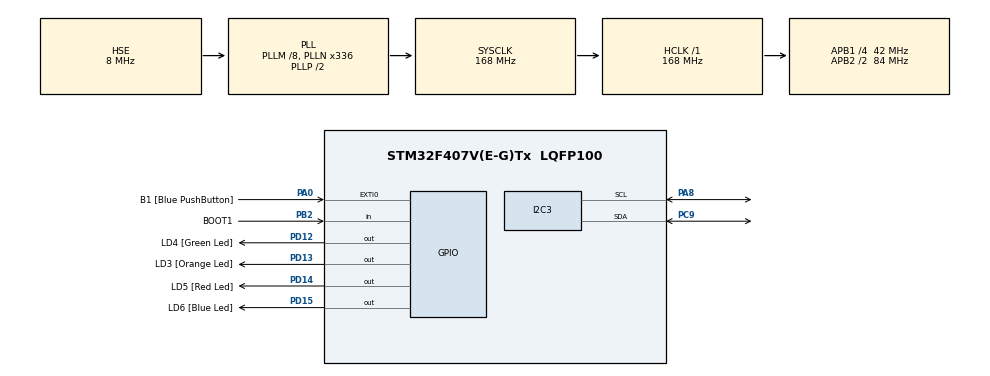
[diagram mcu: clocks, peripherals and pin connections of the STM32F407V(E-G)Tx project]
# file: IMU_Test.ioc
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Mcu.Family=STM32F4
Mcu.Name=STM32F407V(E-G)Tx
Mcu.Package=LQFP100
NVIC.PriorityGroup=NVIC_PRIORITYGROUP_0
PA0-WKUP.GPIO_Label=B1 [Blue PushButton]
PA0-WKUP.GPIO_ModeDefaultEXTI=GPIO_MODE_EVT_RISING
PA0-WKUP.GPIO_PuPd=GPIO_NOPULL
PA0-WKUP.Signal=GPXTI0
PA8.Mode=I2C
PA8.Signal=I2C3_SCL
PB2.GPIO_Label=BOOT1
PB2.GPIO_Mode=GPIO_MODE_INPUT
PB2.GPIO_PuPd=GPIO_NOPULL
PB2.Signal=GPIO_Input
PC14-OSC32_IN.GPIO_Label=PC14-OSC32_IN
PC14-OSC32_IN.Mode=LSE-External-Oscillator
PC14-OSC32_IN.Signal=RCC_OSC32_IN
PC15-OSC32_OUT.GPIO_Label=PC15-OSC32_OUT
PC15-OSC32_OUT.Mode=LSE-External-Oscillator
PC15-OSC32_OUT.Signal=RCC_OSC32_OUT
PC9.Mode=I2C
PC9.Signal=I2C3_SDA
PD12.GPIO_Label=LD4 [Green Led]
PD12.GPIO_PuPd=GPIO_NOPULL
PD12.GPIO_Speed=GPIO_SPEED_FREQ_LOW
PD12.Signal=GPIO_Output
PD13.GPIO_Label=LD3 [Orange Led]
PD13.GPIO_PuPd=GPIO_NOPULL
PD13.GPIO_Speed=GPIO_SPEED_FREQ_LOW
PD13.Signal=GPIO_Output
PD14.GPIO_Label=LD5 [Red Led]
PD14.GPIO_PuPd=GPIO_NOPULL
PD14.GPIO_Speed=GPIO_SPEED_FREQ_LOW
PD14.Signal=GPIO_Output
PD15.GPIO_Label=LD6 [Blue Led]
PD15.GPIO_PuPd=GPIO_NOPULL
PD15.GPIO_Speed=GPIO_SPEED_FREQ_LOW
PD15.Signal=GPIO_Output
PH0-OSC_IN.GPIO_Label=PH0-OSC_IN
PH0-OSC_IN.Mode=HSE-External-Oscillator
PH0-OSC_IN.Signal=RCC_OSC_IN
PH1-OSC_OUT.GPIO_Label=PH1-OSC_OUT
PH1-OSC_OUT.Mode=HSE-External-Oscillator
PH1-OSC_OUT.Signal=RCC_OSC_OUT
ProjectManager.HeapSize=0x200
ProjectManager.StackSize=0x400
ProjectManager.TargetToolchain=STM32CubeIDE
RCC.48MHZClocksFreq_Value=48000000
RCC.AHBFreq_Value=168000000
RCC.APB1CLKDivider=RCC_HCLK_DIV4
RCC.APB1Freq_Value=42000000
RCC.APB1TimFreq_Value=84000000
RCC.APB2CLKDivider=RCC_HCLK_DIV2
RCC.APB2Freq_Value=84000000
RCC.APB2TimFreq_Value=168000000
RCC.CortexFreq_Value=168000000
RCC.HCLKFreq_Value=168000000
RCC.HSE_VALUE=8000000
RCC.HSI_VALUE=16000000
RCC.PLLM=8
RCC.PLLN=336
RCC.PLLQ=7
RCC.PLLSourceVirtual=RCC_PLLSOURCE_HSE
RCC.SYSCLKFreq_VALUE=168000000
RCC.SYSCLKSource=RCC_SYSCLKSOURCE_PLLCLK
RCC.VCOOutputFreq_Value=336000000
board=STM32F407G-DISC1

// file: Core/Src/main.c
/* USER CODE BEGIN Header */
/**
  ******************************************************************************
  * @file           : main.c
  * @brief          : Main program body
  ******************************************************************************
  * @attention
  *
  * Copyright (c) 2023 STMicroelectronics.
  * All rights reserved.
  *
  * This software is licensed under terms that can be found in the LICENSE file
  * in the root directory of this software component.
  * If no LICENSE file comes with this software, it is provided AS-IS.
  *
  ******************************************************************************
  */
/* USER CODE END Header */
#include "main.h"

/* USER CODE BEGIN Includes */
#include "TJ_MPU6050.h"
/* USER CODE END Includes */

I2C_HandleTypeDef hi2c3;

void SystemClock_Config(void);
static void MX_GPIO_Init(void);
static void MX_I2C3_Init(void);

/* USER CODE BEGIN 0 */
RawData_Def myAccelRaw, myGyroRaw;
ScaledData_Def myAccelScaled, myGyroScaled;

/* USER CODE END 0 */

int main(void)
{
  /* USER CODE BEGIN 1 */
	MPU_ConfigTypeDef myMpuConfig; //instantiating that type of variable

  /* USER CODE END 1 */

  /* MCU Configuration--------------------------------------------------------*/

  /* Reset of all peripherals, Initializes the Flash interface and the Systick. */
  HAL_Init();

  /* Configure the system clock */
  SystemClock_Config();

  /* Initialize all configured peripherals */
  MX_GPIO_Init();
  MX_I2C3_Init();
  /* USER CODE BEGIN 2 */

//initialize IMU and I2C
  MPU6050_Init(&hi2c3);
//Configure accelerometer and gyro parameters
  myMpuConfig.Accel_Full_Scale = AFS_SEL_4g;//on the more precise end available
  myMpuConfig.ClockSource = Internal_8MHz;
  myMpuConfig.CONFIG_DLPF = DLPF_184A_188G_Hz; //adjust depending on looking for fast or slow signal
  myMpuConfig.Gyro_Full_Scale = FS_SEL_500;
  myMpuConfig.Sleep_Mode_Bit = 0;
  MPU6050_Config(&myMpuConfig);

  /* USER CODE END 2 */

  /* Infinite loop */
  while (1)
  {

    /* USER CODE BEGIN 3 */

	  //Raw data
	  /*
	  MPU6050_Get_Accel_RawData(&myAccelRaw);
	  MPU6050_Get_Gyro_RawData(&myGyroRaw); //have to get accel before raw (how it's implemented)
	*/

	  HAL_GPIO_TogglePin(GPIOD, GPIO_PIN_12);
	  HAL_Delay(10);

	  //scaled data
	  MPU6050_Get_Accel_Scale(&myAccelScaled);
	  MPU6050_Get_Gyro_Scale(&myGyroScaled);

  }
  /* USER CODE END 3 */
}

void SystemClock_Config(void)
{
  RCC_OscInitTypeDef RCC_OscInitStruct = {0};
  RCC_ClkInitTypeDef RCC_ClkInitStruct = {0};

  /** Configure the main internal regulator output voltage
  */
  __HAL_RCC_PWR_CLK_ENABLE();
  __HAL_PWR_VOLTAGESCALING_CONFIG(PWR_REGULATOR_VOLTAGE_SCALE1);

  /** Initializes the RCC Oscillators according to the specified parameters
  * in the RCC_OscInitTypeDef structure.
  */
  RCC_OscInitStruct.OscillatorType = RCC_OSCILLATORTYPE_HSE;
  RCC_OscInitStruct.HSEState = RCC_HSE_ON;
  RCC_OscInitStruct.PLL.PLLState = RCC_PLL_ON;
  RCC_OscInitStruct.PLL.PLLSource = RCC_PLLSOURCE_HSE;
  RCC_OscInitStruct.PLL.PLLM = 8;
  RCC_OscInitStruct.PLL.PLLN = 336;
  RCC_OscInitStruct.PLL.PLLP = RCC_PLLP_DIV2;
  RCC_OscInitStruct.PLL.PLLQ = 7;
  if (HAL_RCC_OscConfig(&RCC_OscInitStruct) != HAL_OK)
  {
    Error_Handler();
  }

  /** Initializes the CPU, AHB and APB buses clocks
  */
  RCC_ClkInitStruct.ClockType = RCC_CLOCKTYPE_HCLK|RCC_CLOCKTYPE_SYSCLK
                              |RCC_CLOCKTYPE_PCLK1|RCC_CLOCKTYPE_PCLK2;
  RCC_ClkInitStruct.SYSCLKSource = RCC_SYSCLKSOURCE_PLLCLK;
  RCC_ClkInitStruct.AHBCLKDivider = RCC_SYSCLK_DIV1;
  RCC_ClkInitStruct.APB1CLKDivider = RCC_HCLK_DIV4;
  RCC_ClkInitStruct.APB2CLKDivider = RCC_HCLK_DIV2;

  if (HAL_RCC_ClockConfig(&RCC_ClkInitStruct, FLASH_LATENCY_5) != HAL_OK)
  {
    Error_Handler();
  }
}

static void MX_I2C3_Init(void)
{

  hi2c3.Instance = I2C3;
  hi2c3.Init.ClockSpeed = 100000;
  hi2c3.Init.DutyCycle = I2C_DUTYCYCLE_2;
  hi2c3.Init.OwnAddress1 = 0;
  hi2c3.Init.AddressingMode = I2C_ADDRESSINGMODE_7BIT;
  hi2c3.Init.DualAddressMode = I2C_DUALADDRESS_DISABLE;
  hi2c3.Init.OwnAddress2 = 0;
  hi2c3.Init.GeneralCallMode = I2C_GENERALCALL_DISABLE;
  hi2c3.Init.NoStretchMode = I2C_NOSTRETCH_DISABLE;
  if (HAL_I2C_Init(&hi2c3) != HAL_OK)
  {
    Error_Handler();
  }

}

static void MX_GPIO_Init(void)
{
  GPIO_InitTypeDef GPIO_InitStruct = {0};

  /* GPIO Ports Clock Enable */
  __HAL_RCC_GPIOC_CLK_ENABLE();
  __HAL_RCC_GPIOH_CLK_ENABLE();
  __HAL_RCC_GPIOA_CLK_ENABLE();
  __HAL_RCC_GPIOB_CLK_ENABLE();
  __HAL_RCC_GPIOD_CLK_ENABLE();

  /*Configure GPIO pin Output Level */
  HAL_GPIO_WritePin(GPIOD, LD4_Pin|LD3_Pin|LD5_Pin|LD6_Pin, GPIO_PIN_RESET);

  /*Configure GPIO pin : B1_Pin */
  GPIO_InitStruct.Pin = B1_Pin;
  GPIO_InitStruct.Mode = GPIO_MODE_EVT_RISING;
  GPIO_InitStruct.Pull = GPIO_NOPULL;
  HAL_GPIO_Init(B1_GPIO_Port, &GPIO_InitStruct);

  /*Configure GPIO pin : BOOT1_Pin */
  GPIO_InitStruct.Pin = BOOT1_Pin;
  GPIO_InitStruct.Mode = GPIO_MODE_INPUT;
  GPIO_InitStruct.Pull = GPIO_NOPULL;
  HAL_GPIO_Init(BOOT1_GPIO_Port, &GPIO_InitStruct);

  /*Configure GPIO pins : LD4_Pin LD3_Pin LD5_Pin LD6_Pin */
  GPIO_InitStruct.Pin = LD4_Pin|LD3_Pin|LD5_Pin|LD6_Pin;
  GPIO_InitStruct.Mode = GPIO_MODE_OUTPUT_PP;
  GPIO_InitStruct.Pull = GPIO_NOPULL;
  GPIO_InitStruct.Speed = GPIO_SPEED_FREQ_LOW;
  HAL_GPIO_Init(GPIOD, &GPIO_InitStruct);

}

void Error_Handler(void)
{
  __disable_irq();
  while (1)
  {
  }
}
